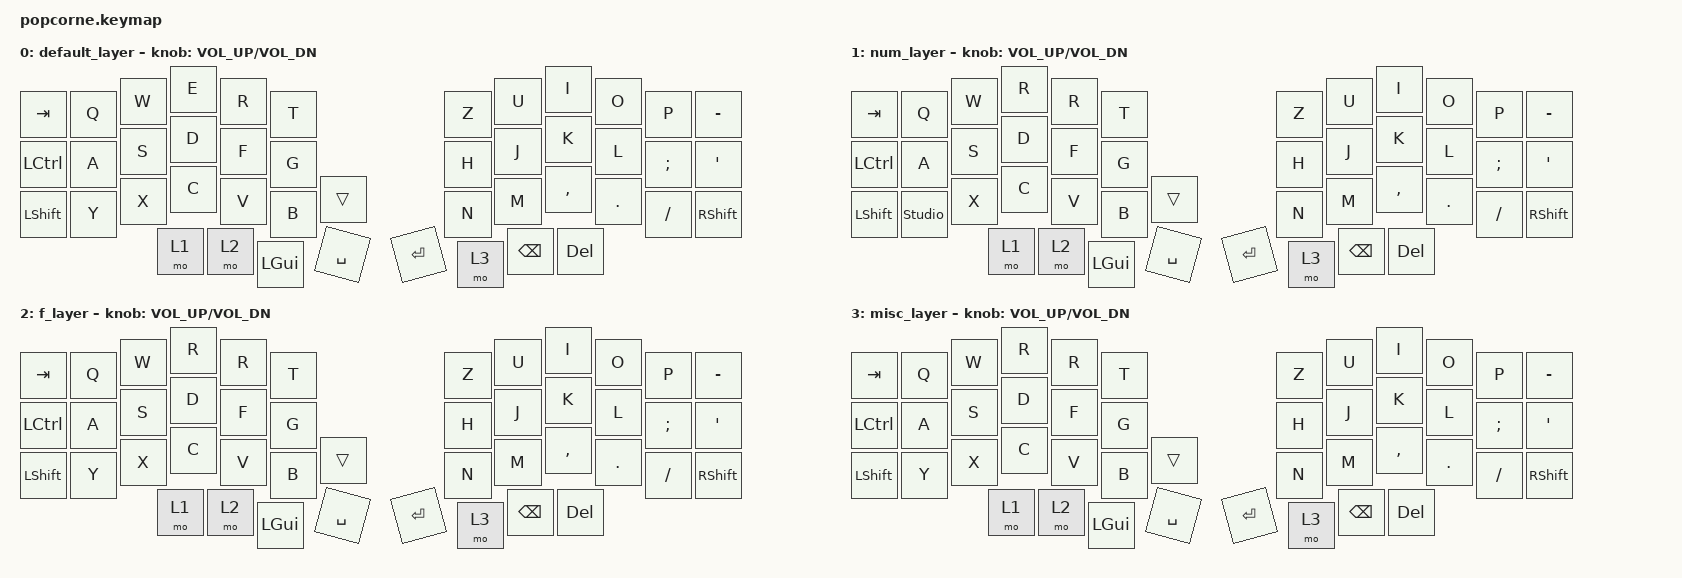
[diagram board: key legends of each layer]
/*
 * Copyright (c) 2025 Joris Wachsmuth
 * SPDX-License-Identifier: MIT
 */

#include <behaviors.dtsi>
#include <dt-bindings/zmk/keys.h>
#include <dt-bindings/zmk/rgb.h>
#include <dt-bindings/zmk/bt.h>

/ {
    keymap {
        compatible = "zmk,keymap";

        default_layer {
            // -------------------------------------        -------------------------------------
            // | TAB |  Q  |  W  |  E  |  R  |  T  |        |  Z  |  U  |  I  |  O  |  P  |  -  |
            // | CTL |  A  |  S  |  D  |  F  |  G  |------  |  H  |  J  |  K  |  L  |  ;  |  '  |
            // | SFT |  Y  |  X  |  C  |  V  |  B  | ENC |  |  N  |  M  |  ,  |  .  |  /  | SFT |
            // ------------|MO(1)|MO(2)| WIN | SPC |------  |ENTER|MO(3)|BSPC | DEL |------------
            //             -------------------------        -------------------------
            bindings = <
            &kp TAB   &kp Q &kp W &kp E &kp R    &kp T              &kp Z   &kp U &kp I     &kp O   &kp P    &kp MINUS
            &kp LCTRL &kp A &kp S &kp D &kp F    &kp G              &kp H   &kp J &kp K     &kp L   &kp SEMI &kp SQT
            &kp LSHFT &kp Y &kp X &kp C &kp V    &kp B     &trans   &kp N   &kp M &kp COMMA &kp DOT &kp FSLH &kp RSHFT
                            &mo 1 &mo 2 &kp LGUI &kp SPACE          &kp RET &mo 3 &kp BSPC  &kp DEL
            >;

            sensor-bindings = <&inc_dec_kp C_VOL_UP C_VOL_DN>;
        };

        num_layer {
            // -------------------------------------        -------------------------------------
            // | TAB |  Q  |  W  |  E  |  R  |  T  |        |  Z  |  U  |  I  |  O  |  P  |  -  |
            // | CTL |  A  |  S  |  D  |  F  |  G  |------  |  H  |  J  |  K  |  L  |  ;  |  '  |
            // | SFT |  Y  |  X  |  C  |  V  |  B  | ENC |  |  N  |  M  |  ,  |  .  |  /  | SFT |
            // ------------|MO(1)|MO(2)| WIN | SPC |------  |ENTER|MO(3)|BSPC | DEL |------------
            //             -------------------------        -------------------------
            bindings = <
            &kp TAB   &kp Q &kp W &kp R &kp R    &kp T              &kp Z   &kp U &kp I     &kp O   &kp P    &kp MINUS
            &kp LCTRL &kp A &kp S &kp D &kp F    &kp G              &kp H   &kp J &kp K     &kp L   &kp SEMI &kp SQT
            &kp LSHFT &studio_unlock &kp X &kp C &kp V    &kp B     &trans   &kp N   &kp M &kp COMMA &kp DOT &kp FSLH &kp RSHFT
                            &mo 1 &mo 2 &kp LGUI &kp SPACE          &kp RET &mo 3 &kp BSPC  &kp DEL
            >;

            sensor-bindings = <&inc_dec_kp C_VOL_UP C_VOL_DN>;
        };

        f_layer {
            // -------------------------------------        -------------------------------------
            // | TAB |  Q  |  W  |  E  |  R  |  T  |        |  Z  |  U  |  I  |  O  |  P  |  -  |
            // | CTL |  A  |  S  |  D  |  F  |  G  |------  |  H  |  J  |  K  |  L  |  ;  |  '  |
            // | SFT |  Y  |  X  |  C  |  V  |  B  | ENC |  |  N  |  M  |  ,  |  .  |  /  | SFT |
            // ------------|MO(1)|MO(2)| WIN | SPC |------  |ENTER|MO(3)|BSPC | DEL |------------
            //             -------------------------        -------------------------
            bindings = <
            &kp TAB   &kp Q &kp W &kp R &kp R    &kp T              &kp Z   &kp U &kp I     &kp O   &kp P    &kp MINUS
            &kp LCTRL &kp A &kp S &kp D &kp F    &kp G              &kp H   &kp J &kp K     &kp L   &kp SEMI &kp SQT
            &kp LSHFT &kp Y &kp X &kp C &kp V    &kp B     &trans   &kp N   &kp M &kp COMMA &kp DOT &kp FSLH &kp RSHFT
                            &mo 1 &mo 2 &kp LGUI &kp SPACE          &kp RET &mo 3 &kp BSPC  &kp DEL
            >;

            sensor-bindings = <&inc_dec_kp C_VOL_UP C_VOL_DN>;
        };

        misc_layer {
            // -------------------------------------        -------------------------------------
            // | TAB |  Q  |  W  |  E  |  R  |  T  |        |  Z  |  U  |  I  |  O  |  P  |  -  |
            // | CTL |  A  |  S  |  D  |  F  |  G  |------  |  H  |  J  |  K  |  L  |  ;  |  '  |
            // | SFT |  Y  |  X  |  C  |  V  |  B  | ENC |  |  N  |  M  |  ,  |  .  |  /  | SFT |
            // ------------|MO(1)|MO(2)| WIN | SPC |------  |ENTER|MO(3)|BSPC | DEL |------------
            //             -------------------------        -------------------------
            bindings = <
            &kp TAB   &kp Q &kp W &kp R &kp R    &kp T              &kp Z   &kp U &kp I     &kp O   &kp P    &kp MINUS
            &kp LCTRL &kp A &kp S &kp D &kp F    &kp G              &kp H   &kp J &kp K     &kp L   &kp SEMI &kp SQT
            &kp LSHFT &kp Y &kp X &kp C &kp V    &kp B     &trans   &kp N   &kp M &kp COMMA &kp DOT &kp FSLH &kp RSHFT
                            &mo 1 &mo 2 &kp LGUI &kp SPACE          &kp RET &mo 3 &kp BSPC  &kp DEL
            >;

            sensor-bindings = <&inc_dec_kp C_VOL_UP C_VOL_DN>;
        };
    };
};
